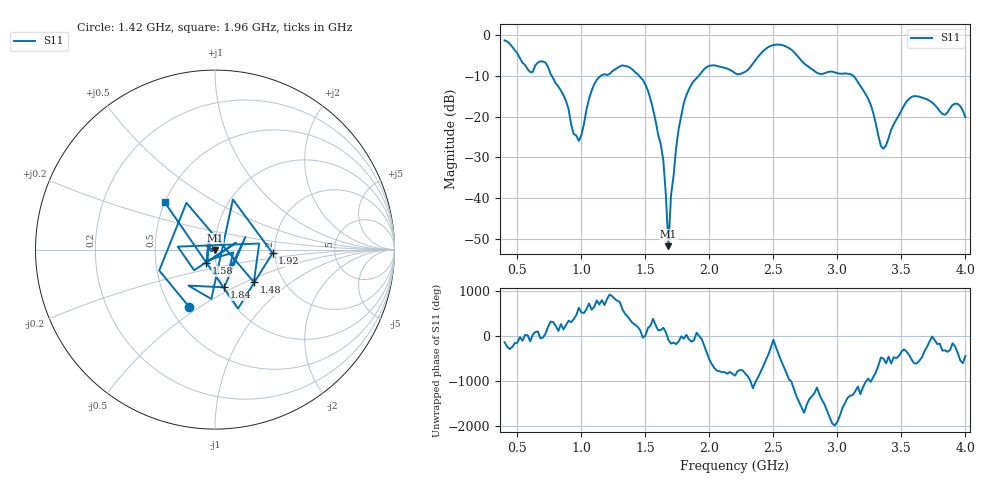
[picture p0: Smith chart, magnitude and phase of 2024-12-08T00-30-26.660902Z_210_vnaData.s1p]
!Created with skrf (http://scikit-rf.org).
# Hz S RI R 50.0
!freq ReS11 ImS11
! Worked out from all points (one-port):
!   181 points, 400 MHz to 4 GHz, reference 50 ohm
!   lowest |S11| = -51.8 dB at 1.68 GHz (marker M1), VSWR 1.01, Z = 50 - j0.258 ohm
!   |S11| at or under -10 dB: 768.4 MHz to 1.151 GHz (382.4 MHz wide, 39.9 % of centre); 1.452 GHz to 1.916 GHz (464.5 MHz wide, 27.6 % of centre); 3.124 GHz to end of sweep
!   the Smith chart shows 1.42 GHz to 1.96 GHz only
!   S11 on the Smith chart (normalised r, x): 1.42 GHz: 0.62, -0.45; 1.48 GHz: 1.42, -0.56; 1.58 GHz: 0.90, -0.13; 1.84 GHz: 1.01, -0.45; 1.92 GHz: 1.94, -0.08; 1.96 GHz: 0.50, +0.31
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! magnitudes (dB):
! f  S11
! 400 MHz  -1.3
! 600 MHz  -9.1
! 720 MHz  -6.8
! 860 MHz  -14.7
! 980 MHz  -25.9
! 1.1 GHz  -12.0
! 1.3 GHz  -7.7
! 1.42 GHz  -9.1
! 1.48 GHz  -11.0
! 1.58 GHz  -21.1
! 1.64 GHz  -30.7
! 1.68 GHz  -51.8
! 1.7 GHz  -39.3
! 1.76 GHz  -23.0
! 1.84 GHz  -13.3
! 1.92 GHz  -9.9
! 1.96 GHz  -8.3
! 2.2 GHz  -9.3
! 2.48 GHz  -2.6
! 2.66 GHz  -4.1
! 2.84 GHz  -9.3
! 3.1 GHz  -9.5
! 3.24 GHz  -15.6
! 3.36 GHz  -27.9
! 3.56 GHz  -15.6
! 3.84 GHz  -19.6
! 3.94 GHz  -16.9
! 4 GHz  -20.1
